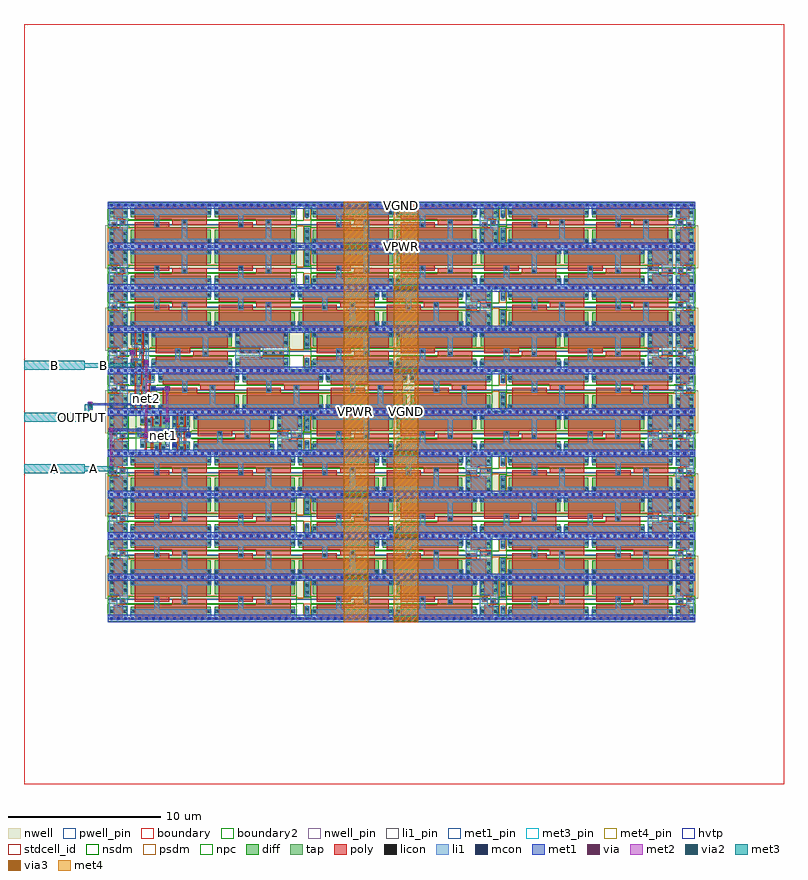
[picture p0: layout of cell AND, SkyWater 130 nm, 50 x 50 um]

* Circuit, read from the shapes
.subckt AND A B OUTPUT VGND VPWR net1 net2 net3
XM1 VGND VPWR VGND VGND sky130_fd_pr__nfet_01v8 w=0.55 l=0.59 m=22
XM2 VGND VPWR VGND VGND sky130_fd_pr__nfet_01v8 w=0.55 l=4.73 m=58
XM3 VGND B n1 VGND sky130_fd_pr__nfet_01v8 w=0.52 l=0.15
XM4 OUTPUT n2 VGND VGND sky130_fd_pr__nfet_01v8 w=0.65 l=0.15 m=2
XM5 net2 n1 VGND VGND sky130_fd_pr__nfet_01v8 w=0.52 l=0.15
XM6 n3 net2 n4 VGND sky130_fd_pr__nfet_01v8 w=0.42 l=0.15
XM7 n2 net3 VGND VGND sky130_fd_pr__nfet_01v8 w=0.42 l=0.15
XM8 VGND net1 n3 VGND sky130_fd_pr__nfet_01v8 w=0.42 l=0.15
XM9 net3 n4 VGND VGND sky130_fd_pr__nfet_01v8 w=0.65 l=0.15
XM10 VGND n5 net1 VGND sky130_fd_pr__nfet_01v8 w=0.52 l=0.15
XM11 n5 A VGND VGND sky130_fd_pr__nfet_01v8 w=0.52 l=0.15
XM12 VGND VPWR VGND VGND sky130_fd_pr__nfet_01v8 w=0.55 l=2.89
XM13 VGND VPWR VGND VGND sky130_fd_pr__nfet_01v8 w=0.55 l=1.05 m=8
XM14 VPWR VGND VPWR VPWR sky130_fd_pr__pfet_01v8_hvt w=0.87 l=0.59 m=22
XM15 VPWR VGND VPWR VPWR sky130_fd_pr__pfet_01v8_hvt w=0.87 l=4.73 m=58
XM16 VPWR B n1 VPWR sky130_fd_pr__pfet_01v8_hvt w=0.79 l=0.15
XM17 OUTPUT n2 VPWR VPWR sky130_fd_pr__pfet_01v8_hvt w=1 l=0.15 m=2
XM18 net2 n1 VPWR VPWR sky130_fd_pr__pfet_01v8_hvt w=0.79 l=0.15
XM19 n4 net2 VPWR VPWR sky130_fd_pr__pfet_01v8_hvt w=0.42 l=0.15
XM20 n2 net3 VPWR VPWR sky130_fd_pr__pfet_01v8_hvt w=0.64 l=0.15
XM21 VPWR net1 n4 VPWR sky130_fd_pr__pfet_01v8_hvt w=0.42 l=0.15
XM22 net3 n4 VPWR VPWR sky130_fd_pr__pfet_01v8_hvt w=1 l=0.15
XM23 VPWR n5 net1 VPWR sky130_fd_pr__pfet_01v8_hvt w=0.79 l=0.15
XM24 n5 A VPWR VPWR sky130_fd_pr__pfet_01v8_hvt w=0.79 l=0.15
XM25 VPWR VGND VPWR VPWR sky130_fd_pr__pfet_01v8_hvt w=0.87 l=2.89
XM26 VPWR VGND VPWR VPWR sky130_fd_pr__pfet_01v8_hvt w=0.87 l=1.05 m=8
.ends

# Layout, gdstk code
from math import pi, radians
import gdstk
lib = gdstk.Library(unit=1e-6, precision=1e-09)
def R(c, l, rs):  # rectangles x0, y0, x1, y1
    for r in rs: c.add(gdstk.rectangle(r[:2], r[2:], *l))
def A(c, l, x, y, w, h, nx, ny, dx, dy):  # array of equal rectangles
    R(c, l, [(x+i*dx, y+j*dy, x+i*dx+w, y+j*dy+h) for i in range(nx) for j in range(ny)])
def P(c, l, *ps):  # polygons
    for p in ps: c.add(gdstk.Polygon(p, *l))
nwell_pin = (64, 16)
nwell = (64, 20)
diff = (65, 20)
tap = (65, 44)
poly = (66, 20)
licon = (66, 44)
li1_pin = (67, 16)
li1 = (67, 20)
mcon = (67, 44)
met1_pin = (68, 16)
met1 = (68, 20)
via = (68, 44)
met2 = (69, 20)
via2 = (69, 44)
met3_pin = (70, 16)
met3 = (70, 20)
via3 = (70, 44)
met4_pin = (71, 16)
met4 = (71, 20)
hvtp = (78, 44)
stdcell_id = (81, 4)
nsdm = (93, 44)
psdm = (94, 20)
npc = (95, 20)
pwell_pin = (122, 16)
boundary = (235, 4)
boundary2 = (236, 0)

sky130_ef_sc_hd__decap_1 = lib.new_cell('sky130_ef_sc_hd__decap_12')
R(sky130_ef_sc_hd__decap_1, nwell_pin, [(0.145,2.635,0.315,2.805)])
R(sky130_ef_sc_hd__decap_1, nwell, [(-0.19,1.305,5.71,2.91)])
R(sky130_ef_sc_hd__decap_1, diff, [(0.135,0.235,5.385,0.785), (0.135,1.615,5.385,2.485)])
P(sky130_ef_sc_hd__decap_1, poly, [(5.125,2.615),(0.395,2.615),(0.395,1.125),(2.645,1.125),(2.645,1.485),(5.125,1.485)],
  [(5.125,1.275),(2.855,1.275),(2.855,0.915),(0.395,0.915),(0.395,0.105),(5.125,0.105)])
R(sky130_ef_sc_hd__decap_1, licon, [(0.175,0.39,0.345,0.56), (5.175,0.39,5.345,0.56), (3.575,1.025,3.745,1.195), (1.755,1.205,1.925,1.375), (0.175,2.255,0.345,2.425), (5.175,2.255,5.345,2.425)])
R(sky130_ef_sc_hd__decap_1, li1, [(0,-0.085,5.52,0.085), (0.085,0.085,5.43,0.63), (1.67,0.63,2.01,1.46), (3.49,0.95,3.84,2.2), (0.085,2.2,5.43,2.635), (0,2.635,5.52,2.805)])
A(sky130_ef_sc_hd__decap_1, mcon, 0.145, -0.085, 0.17, 0.17, 12, 2, 0.46, 2.72)
R(sky130_ef_sc_hd__decap_1, met1_pin, [(0.145,-0.085,0.315,0.085), (0.145,2.635,0.315,2.805)])
R(sky130_ef_sc_hd__decap_1, hvtp, [(0,1.25,5.52,2.72)])
R(sky130_ef_sc_hd__decap_1, stdcell_id, [(0,0,5.52,2.72)])
R(sky130_ef_sc_hd__decap_1, nsdm, [(0,-0.19,5.52,1.015)])
R(sky130_ef_sc_hd__decap_1, psdm, [(0,1.485,5.52,2.91)])
R(sky130_ef_sc_hd__decap_1, npc, [(0,0.925,5.52,1.475)])
R(sky130_ef_sc_hd__decap_1, pwell_pin, [(0.145,-0.085,0.315,0.085)])
R(sky130_ef_sc_hd__decap_1, boundary2, [(0,0,5.52,2.72)])
sky130_ef_sc_hd__decap_1.add(gdstk.FlexPath([(0,2.72),(5.52,2.72)], 0.48, ends="flush", simple_path=True, layer=68, datatype=20))  # met1
sky130_ef_sc_hd__decap_1.add(gdstk.FlexPath([(0,0),(5.52,0)], 0.48, ends="flush", simple_path=True, layer=68, datatype=20))  # met1
sky130_ef_sc_hd__decap_1.add(gdstk.Label('VGND', (0.23,0), layer=68, texttype=5))
sky130_ef_sc_hd__decap_1.add(gdstk.Label('VPWR', (0.23,2.72), layer=68, texttype=5))
sky130_ef_sc_hd__decap_1.add(gdstk.Label('VPB', (0.23,2.72), layer=64, texttype=5))
sky130_ef_sc_hd__decap_1.add(gdstk.Label('VNB', (0.23,0), layer=64, texttype=59))
sky130_ef_sc_hd__decap_1.add(gdstk.Label('decap_12', (0,0), layer=83, texttype=44))

sky130_fd_sc_hd__decap_3 = lib.new_cell('sky130_fd_sc_hd__decap_3')
R(sky130_fd_sc_hd__decap_3, nwell_pin, [(0.145,2.635,0.315,2.805)])
R(sky130_fd_sc_hd__decap_3, nwell, [(-0.19,1.305,1.57,2.91)])
R(sky130_fd_sc_hd__decap_3, diff, [(0.135,0.235,1.245,0.785), (0.135,1.615,1.245,2.485)])
P(sky130_fd_sc_hd__decap_3, poly, [(1.125,1.255),(0.795,1.255),(0.795,0.915),(0.395,0.915),(0.395,0.105),(0.985,0.105),(0.985,0.925),(1.125,0.925)],
  [(0.985,2.615),(0.395,2.615),(0.395,1.455),(0.255,1.455),(0.255,1.125),(0.585,1.125),(0.585,1.465),(0.985,1.465)])
R(sky130_fd_sc_hd__decap_3, licon, [(0.175,0.4,0.345,0.57), (1.035,0.4,1.205,0.57), (0.875,1.005,1.045,1.175), (0.335,1.205,0.505,1.375), (0.175,1.78,0.345,1.95), (1.035,1.78,1.205,1.95), (0.175,2.255,0.345,2.425), (1.035,2.255,1.205,2.425)])
P(sky130_fd_sc_hd__decap_3, li1, [(1.38,2.805),(0,2.805),(0,2.635),(0.085,2.635),(0.085,1.545),(0.775,1.545),(0.775,1.005),(1.295,1.005),(1.295,2.635),(1.38,2.635)],
  [(1.38,0.085),(1.295,0.085),(1.295,0.835),(0.605,0.835),(0.605,1.375),(0.085,1.375),(0.085,0.085),(0,0.085),(0,-0.085),(1.38,-0.085)])
A(sky130_fd_sc_hd__decap_3, mcon, 0.145, -0.085, 0.17, 0.17, 3, 2, 0.46, 2.72)
R(sky130_fd_sc_hd__decap_3, met1_pin, [(0.145,-0.085,0.315,0.085), (0.145,2.635,0.315,2.805)])
R(sky130_fd_sc_hd__decap_3, hvtp, [(0,1.25,1.38,2.72)])
R(sky130_fd_sc_hd__decap_3, stdcell_id, [(0,0,1.38,2.72)])
R(sky130_fd_sc_hd__decap_3, nsdm, [(0,-0.19,1.38,1.015)])
R(sky130_fd_sc_hd__decap_3, psdm, [(0,1.485,1.38,2.91)])
P(sky130_fd_sc_hd__decap_3, npc, [(1.38,1.345),(0.605,1.345),(0.605,1.475),(0,1.475),(0,0.975),(0.775,0.975),(0.775,0.905),(1.38,0.905)])
R(sky130_fd_sc_hd__decap_3, pwell_pin, [(0.145,-0.085,0.315,0.085)])
R(sky130_fd_sc_hd__decap_3, boundary2, [(0,0,1.38,2.72)])
sky130_fd_sc_hd__decap_3.add(gdstk.FlexPath([(0,2.72),(1.38,2.72)], 0.48, ends="flush", simple_path=True, layer=68, datatype=20))  # met1
sky130_fd_sc_hd__decap_3.add(gdstk.FlexPath([(0,0),(1.38,0)], 0.48, ends="flush", simple_path=True, layer=68, datatype=20))  # met1
sky130_fd_sc_hd__decap_3.add(gdstk.Label('VPWR', (0.23,2.72), layer=68, texttype=5))
sky130_fd_sc_hd__decap_3.add(gdstk.Label('VGND', (0.23,0), layer=68, texttype=5))
sky130_fd_sc_hd__decap_3.add(gdstk.Label('VPB', (0.23,2.72), layer=64, texttype=5))
sky130_fd_sc_hd__decap_3.add(gdstk.Label('VNB', (0.23,0), layer=64, texttype=59))
sky130_fd_sc_hd__decap_3.add(gdstk.Label('decap_3', (0,0), layer=83, texttype=44))

sky130_fd_sc_hd__fill_1 = lib.new_cell('sky130_fd_sc_hd__fill_1')
R(sky130_fd_sc_hd__fill_1, nwell_pin, [(0.155,2.67,0.255,2.755)])
R(sky130_fd_sc_hd__fill_1, nwell, [(-0.19,1.305,0.65,2.91)])
R(sky130_fd_sc_hd__fill_1, mcon, [(0.145,-0.085,0.315,0.085), (0.145,2.635,0.315,2.805)])
R(sky130_fd_sc_hd__fill_1, met1_pin, [(0.11,-0.065,0.29,0.08), (0.11,2.635,0.29,2.785)])
R(sky130_fd_sc_hd__fill_1, hvtp, [(0,1.25,0.46,2.72)])
R(sky130_fd_sc_hd__fill_1, stdcell_id, [(0,0,0.46,2.72)])
R(sky130_fd_sc_hd__fill_1, nsdm, [(0,-0.19,0.46,1.015)])
R(sky130_fd_sc_hd__fill_1, psdm, [(0,1.355,0.46,2.91)])
R(sky130_fd_sc_hd__fill_1, pwell_pin, [(0.14,-0.055,0.26,0.055)])
sky130_fd_sc_hd__fill_1.add(gdstk.FlexPath([(0,0),(0.46,0)], 0.17, ends="flush", simple_path=True, layer=67, datatype=20))  # li1
sky130_fd_sc_hd__fill_1.add(gdstk.FlexPath([(0,2.72),(0.46,2.72)], 0.17, ends="flush", simple_path=True, layer=67, datatype=20))  # li1
sky130_fd_sc_hd__fill_1.add(gdstk.FlexPath([(0,2.72),(0.46,2.72)], 0.48, ends="flush", simple_path=True, layer=68, datatype=20))  # met1
sky130_fd_sc_hd__fill_1.add(gdstk.FlexPath([(0,0),(0.46,0)], 0.48, ends="flush", simple_path=True, layer=68, datatype=20))  # met1
sky130_fd_sc_hd__fill_1.add(gdstk.Label('VPWR', (0.205,2.72), layer=68, texttype=5))
sky130_fd_sc_hd__fill_1.add(gdstk.Label('VGND', (0.205,0), layer=68, texttype=5))
sky130_fd_sc_hd__fill_1.add(gdstk.Label('VPB', (0.23,2.72), layer=64, texttype=5))
sky130_fd_sc_hd__fill_1.add(gdstk.Label('VNB', (0.23,0), layer=64, texttype=59))
sky130_fd_sc_hd__fill_1.add(gdstk.Label('fill_1', (0,0), layer=83, texttype=44))

sky130_fd_sc_hd__tapvpwr = lib.new_cell('sky130_fd_sc_hd__tapvpwrvgnd_1')
R(sky130_fd_sc_hd__tapvpwr, nwell, [(-0.19,1.305,0.65,2.91)])
R(sky130_fd_sc_hd__tapvpwr, tap, [(0.145,0.32,0.315,0.845), (0.145,1.525,0.315,2.4)])
R(sky130_fd_sc_hd__tapvpwr, licon, [(0.145,0.555,0.315,0.725), (0.145,1.645,0.315,1.815), (0.145,2.11,0.315,2.28)])
R(sky130_fd_sc_hd__tapvpwr, li1, [(0,-0.085,0.46,0.085), (0.085,0,0.375,0.81), (0.085,1.47,0.375,2.72), (0,2.635,0.46,2.805)])
R(sky130_fd_sc_hd__tapvpwr, mcon, [(0.145,-0.085,0.315,0.085), (0.145,2.635,0.315,2.805)])
R(sky130_fd_sc_hd__tapvpwr, met1_pin, [(0.105,-0.09,0.36,0.1), (0.11,2.62,0.375,2.765)])
R(sky130_fd_sc_hd__tapvpwr, met1, [(0,-0.24,0.46,0.24), (0,2.48,0.46,2.96)])
R(sky130_fd_sc_hd__tapvpwr, hvtp, [(0,1.25,0.46,2.72)])
R(sky130_fd_sc_hd__tapvpwr, stdcell_id, [(0,0,0.46,2.72)])
R(sky130_fd_sc_hd__tapvpwr, nsdm, [(0,-0.19,0.46,0.19), (0,1.395,0.46,2.53)])
R(sky130_fd_sc_hd__tapvpwr, psdm, [(0,0.19,0.46,0.975), (0,2.53,0.46,2.91)])
sky130_fd_sc_hd__tapvpwr.add(gdstk.Label('VPWR', (0.23,2.72), layer=68, texttype=5))
sky130_fd_sc_hd__tapvpwr.add(gdstk.Label('VGND', (0.23,0), layer=68, texttype=5))
sky130_fd_sc_hd__tapvpwr.add(gdstk.Label('tapvpwrvgnd_1', (0,0), layer=83, texttype=44))

sky130_fd_sc_hd__decap_4 = lib.new_cell('sky130_fd_sc_hd__decap_4')
R(sky130_fd_sc_hd__decap_4, nwell_pin, [(0.145,2.635,0.315,2.805)])
R(sky130_fd_sc_hd__decap_4, nwell, [(-0.19,1.305,2.03,2.91)])
R(sky130_fd_sc_hd__decap_4, diff, [(0.135,0.235,1.705,0.785), (0.135,1.615,1.705,2.485)])
P(sky130_fd_sc_hd__decap_4, poly, [(1.445,2.615),(0.395,2.615),(0.395,1.455),(0.105,1.455),(0.105,1.125),(0.815,1.125),(0.815,1.485),(1.445,1.485)],
  [(1.735,1.275),(1.025,1.275),(1.025,0.915),(0.395,0.915),(0.395,0.105),(1.445,0.105),(1.445,0.945),(1.735,0.945)])
R(sky130_fd_sc_hd__decap_4, licon, [(0.175,0.425,0.345,0.595), (1.495,0.425,1.665,0.595), (1.485,1.025,1.655,1.195), (0.185,1.205,0.355,1.375), (0.175,1.745,0.345,1.915), (1.495,1.745,1.665,1.915), (0.175,2.255,0.345,2.425), (1.495,2.255,1.665,2.425)])
P(sky130_fd_sc_hd__decap_4, li1, [(1.84,2.805),(0,2.805),(0,2.635),(0.085,2.635),(0.085,1.545),(1.005,1.545),(1.005,1.025),(1.755,1.025),(1.755,2.635),(1.84,2.635)],
  [(1.84,0.085),(1.755,0.085),(1.755,0.855),(0.835,0.855),(0.835,1.375),(0.085,1.375),(0.085,0.085),(0,0.085),(0,-0.085),(1.84,-0.085)])
A(sky130_fd_sc_hd__decap_4, mcon, 0.145, -0.085, 0.17, 0.17, 4, 2, 0.46, 2.72)
R(sky130_fd_sc_hd__decap_4, met1_pin, [(0.145,-0.085,0.315,0.085), (0.145,2.635,0.315,2.805)])
R(sky130_fd_sc_hd__decap_4, hvtp, [(0,1.25,1.84,2.72)])
R(sky130_fd_sc_hd__decap_4, stdcell_id, [(0,0,1.84,2.72)])
R(sky130_fd_sc_hd__decap_4, nsdm, [(0,-0.19,1.84,1.015)])
R(sky130_fd_sc_hd__decap_4, psdm, [(0,1.485,1.84,2.91)])
P(sky130_fd_sc_hd__decap_4, npc, [(1.84,1.345),(0.455,1.345),(0.455,1.475),(0,1.475),(0,0.975),(1.385,0.975),(1.385,0.925),(1.84,0.925)])
R(sky130_fd_sc_hd__decap_4, pwell_pin, [(0.145,-0.085,0.315,0.085)])
R(sky130_fd_sc_hd__decap_4, boundary2, [(0,0,1.84,2.72)])
sky130_fd_sc_hd__decap_4.add(gdstk.FlexPath([(0,2.72),(1.84,2.72)], 0.48, ends="flush", simple_path=True, layer=68, datatype=20))  # met1
sky130_fd_sc_hd__decap_4.add(gdstk.FlexPath([(0,0),(1.84,0)], 0.48, ends="flush", simple_path=True, layer=68, datatype=20))  # met1
sky130_fd_sc_hd__decap_4.add(gdstk.Label('VGND', (0.23,0), layer=68, texttype=5))
sky130_fd_sc_hd__decap_4.add(gdstk.Label('VPWR', (0.23,2.72), layer=68, texttype=5))
sky130_fd_sc_hd__decap_4.add(gdstk.Label('VPB', (0.23,2.72), layer=64, texttype=5))
sky130_fd_sc_hd__decap_4.add(gdstk.Label('VNB', (0.23,0), layer=64, texttype=59))
sky130_fd_sc_hd__decap_4.add(gdstk.Label('decap_4', (0,0), layer=83, texttype=44))

sky130_fd_sc_hd__and2_1 = lib.new_cell('sky130_fd_sc_hd__and2_1')
R(sky130_fd_sc_hd__and2_1, nwell_pin, [(0.145,2.635,0.315,2.805)])
R(sky130_fd_sc_hd__and2_1, nwell, [(-0.19,1.305,2.49,2.91)])
P(sky130_fd_sc_hd__and2_1, diff, [(1.965,0.885),(1.275,0.885),(1.275,0.795),(0.295,0.795),(0.295,0.375),(1.275,0.375),(1.275,0.235),(1.965,0.235)],
  [(2.16,2.485),(1.275,2.485),(1.275,2.275),(0.295,2.275),(0.295,1.855),(1.225,1.855),(1.225,1.485),(2.16,1.485)])
P(sky130_fd_sc_hd__and2_1, poly, [(1.865,1.325),(1.685,1.325),(1.685,2.615),(1.535,2.615),(1.535,0.105),(1.685,0.105),(1.685,0.995),(1.865,0.995)],
  [(0.725,2.405),(0.575,2.405),(0.575,1.325),(0.29,1.325),(0.29,0.995),(0.575,0.995),(0.575,0.245),(0.725,0.245)],
  [(1.325,1.325),(1.145,1.325),(1.145,2.405),(0.995,2.405),(0.995,0.245),(1.145,0.245),(1.145,0.995),(1.325,0.995)])
R(sky130_fd_sc_hd__and2_1, licon, [(1.315,0.295,1.485,0.465), (1.735,0.295,1.905,0.465), (0.355,0.435,0.525,0.605), (0.37,1.075,0.54,1.245), (1.075,1.075,1.245,1.245), (1.615,1.075,1.785,1.245), (1.315,1.915,1.485,2.085), (1.835,1.915,2.005,2.085), (0.355,2.045,0.525,2.215), (0.775,2.045,0.945,2.215), (1.315,2.255,1.485,2.425), (1.835,2.255,2.005,2.425)])
A(sky130_fd_sc_hd__and2_1, li1_pin, 1.985, 0.425, 0.17, 0.17, 1, 6, 0, 0.34)
A(sky130_fd_sc_hd__and2_1, li1_pin, 0.145, 1.105, 0.17, 0.17, 3, 1, 0.46, 0)
R(sky130_fd_sc_hd__and2_1, li1_pin, [(0.145,1.445,0.315,1.615)])
R(sky130_fd_sc_hd__and2_1, li1, [(0.995,1.075,1.335,1.325)])
P(sky130_fd_sc_hd__and2_1, li1, [(2.215,2.465),(1.755,2.465),(1.755,1.915),(1.965,1.915),(1.965,0.545),(1.655,0.545),(1.655,0.255),(2.215,0.255)],
  [(2.3,2.805),(0,2.805),(0,2.635),(0.285,2.635),(0.285,1.965),(0.565,1.965),(0.565,2.635),(1.235,2.635),(1.235,1.915),(1.565,1.915),(1.565,2.635),(2.3,2.635)],
  [(0.1,1.075),(0.1,1.685),(0.365,1.685),(0.365,1.325),(0.775,1.325),(0.775,1.075)],
  [(2.3,0.085),(1.485,0.085),(1.485,0.545),(1.235,0.545),(1.235,0.085),(0,0.085),(0,-0.085),(2.3,-0.085)],
  [(1.795,1.325),(1.675,1.325),(1.675,1.745),(1.035,1.745),(1.035,2.295),(0.735,2.295),(0.735,1.575),(1.505,1.575),(1.505,0.905),(0.285,0.905),(0.285,0.355),(0.615,0.355),(0.615,0.715),(1.675,0.715),(1.675,0.995),(1.795,0.995)])
A(sky130_fd_sc_hd__and2_1, mcon, 0.145, -0.085, 0.17, 0.17, 5, 2, 0.46, 2.72)
R(sky130_fd_sc_hd__and2_1, met1_pin, [(0.145,-0.085,0.315,0.085), (0.145,2.635,0.315,2.805)])
R(sky130_fd_sc_hd__and2_1, hvtp, [(0,1.25,2.3,2.72)])
R(sky130_fd_sc_hd__and2_1, stdcell_id, [(0,0,2.3,2.72)])
R(sky130_fd_sc_hd__and2_1, nsdm, [(0,-0.19,2.3,1.015)])
R(sky130_fd_sc_hd__and2_1, psdm, [(0,1.355,2.3,2.91)])
R(sky130_fd_sc_hd__and2_1, npc, [(0,0.975,2.3,1.345)])
R(sky130_fd_sc_hd__and2_1, pwell_pin, [(0.145,-0.085,0.315,0.085)])
R(sky130_fd_sc_hd__and2_1, boundary2, [(0,0,2.3,2.72)])
sky130_fd_sc_hd__and2_1.add(gdstk.FlexPath([(0,0),(2.3,0)], 0.48, ends="flush", simple_path=True, layer=68, datatype=20))  # met1
sky130_fd_sc_hd__and2_1.add(gdstk.FlexPath([(0,2.72),(2.3,2.72)], 0.48, ends="flush", simple_path=True, layer=68, datatype=20))  # met1
sky130_fd_sc_hd__and2_1.add(gdstk.Label('VPWR', (0.23,2.72), layer=68, texttype=5))
sky130_fd_sc_hd__and2_1.add(gdstk.Label('VGND', (0.23,0), layer=68, texttype=5))
sky130_fd_sc_hd__and2_1.add(gdstk.Label('X', (2.07,0.85), layer=67, texttype=5))
sky130_fd_sc_hd__and2_1.add(gdstk.Label('X', (2.07,0.51), layer=67, texttype=5))
sky130_fd_sc_hd__and2_1.add(gdstk.Label('X', (2.07,1.19), layer=67, texttype=5))
sky130_fd_sc_hd__and2_1.add(gdstk.Label('X', (2.07,1.53), layer=67, texttype=5))
sky130_fd_sc_hd__and2_1.add(gdstk.Label('X', (2.07,1.87), layer=67, texttype=5))
sky130_fd_sc_hd__and2_1.add(gdstk.Label('X', (2.07,2.21), layer=67, texttype=5))
sky130_fd_sc_hd__and2_1.add(gdstk.Label('B', (1.15,1.19), layer=67, texttype=5))
sky130_fd_sc_hd__and2_1.add(gdstk.Label('A', (0.69,1.19), layer=67, texttype=5))
sky130_fd_sc_hd__and2_1.add(gdstk.Label('A', (0.23,1.19), layer=67, texttype=5))
sky130_fd_sc_hd__and2_1.add(gdstk.Label('VPB', (0.23,2.72), layer=64, texttype=5))
sky130_fd_sc_hd__and2_1.add(gdstk.Label('VNB', (0.23,0), layer=64, texttype=59))
sky130_fd_sc_hd__and2_1.add(gdstk.Label('and2_1', (0,0), layer=83, texttype=44))

sky130_fd_sc_hd__clkbuf_ = lib.new_cell('sky130_fd_sc_hd__clkbuf_1')
R(sky130_fd_sc_hd__clkbuf_, nwell_pin, [(1.065,2.635,1.235,2.805)])
R(sky130_fd_sc_hd__clkbuf_, nwell, [(-0.19,1.305,1.57,2.91)])
R(sky130_fd_sc_hd__clkbuf_, diff, [(0.135,0.235,1.245,0.755), (0.135,1.695,1.245,2.485)])
P(sky130_fd_sc_hd__clkbuf_, poly, [(0.375,1.39),(0.395,1.39),(0.395,2.615),(0.545,2.615),(0.545,1.39),(0.645,1.39),(0.645,1.06),(0.545,1.06),(0.545,0.105),(0.395,0.105),(0.395,1.06),(0.375,1.06)],
  [(1.245,1.325),(1.015,1.325),(1.015,1.62),(0.985,1.62),(0.985,2.615),(0.835,2.615),(0.835,1.5),(0.865,1.5),(0.865,0.95),(0.835,0.95),(0.835,0.105),(0.985,0.105),(0.985,0.83),(1.015,0.83),(1.015,0.995),(1.245,0.995)])
A(sky130_fd_sc_hd__clkbuf_, licon, 0.175, 2.215, 0.17, 0.17, 3, 1, 0.43, 0)
R(sky130_fd_sc_hd__clkbuf_, licon, [(0.605,0.295,0.775,0.465), (1.035,0.36,1.205,0.53), (0.175,0.445,0.345,0.615), (1.025,1.075,1.195,1.245), (0.425,1.14,0.595,1.31), (0.175,1.81,0.345,1.98), (0.605,1.875,0.775,2.045), (1.035,1.875,1.205,2.045)])
R(sky130_fd_sc_hd__clkbuf_, li1_pin, [(0.145,0.425,0.315,0.595), (1.065,1.105,1.235,1.275), (0.145,1.785,0.315,1.955), (0.145,2.125,0.315,2.295)])
R(sky130_fd_sc_hd__clkbuf_, li1, [(0.945,0.985,1.275,1.355)])
P(sky130_fd_sc_hd__clkbuf_, li1, [(0.085,2.465),(0.355,2.465),(0.355,1.56),(0.255,1.56),(0.255,0.76),(0.345,0.76),(0.345,0.255),(0.085,0.255)],
  [(0,0.085),(0.525,0.085),(0.525,0.465),(0.855,0.465),(0.855,0.085),(1.38,0.085),(1.38,-0.085),(0,-0.085)],
  [(0.425,1.39),(0.54,1.39),(0.54,1.705),(1.035,1.705),(1.035,2.465),(1.205,2.465),(1.205,1.535),(0.71,1.535),(0.71,0.805),(1.205,0.805),(1.205,0.255),(1.035,0.255),(1.035,0.635),(0.54,0.635),(0.54,1.06),(0.425,1.06)],
  [(0,2.805),(1.38,2.805),(1.38,2.635),(0.855,2.635),(0.855,1.875),(0.525,1.875),(0.525,2.635),(0,2.635)])
A(sky130_fd_sc_hd__clkbuf_, mcon, 0.145, -0.085, 0.17, 0.17, 3, 2, 0.46, 2.72)
R(sky130_fd_sc_hd__clkbuf_, met1_pin, [(1.065,-0.085,1.235,0.085), (1.065,2.635,1.235,2.805)])
R(sky130_fd_sc_hd__clkbuf_, hvtp, [(0,1.25,1.38,2.72)])
R(sky130_fd_sc_hd__clkbuf_, stdcell_id, [(0,0,1.38,2.72)])
R(sky130_fd_sc_hd__clkbuf_, nsdm, [(0,-0.19,1.38,1.015)])
R(sky130_fd_sc_hd__clkbuf_, psdm, [(0,1.42,1.38,2.91)])
R(sky130_fd_sc_hd__clkbuf_, npc, [(0,0.975,1.38,1.41)])
R(sky130_fd_sc_hd__clkbuf_, pwell_pin, [(1.065,-0.085,1.235,0.085)])
R(sky130_fd_sc_hd__clkbuf_, boundary2, [(0,0,1.38,2.72)])
sky130_fd_sc_hd__clkbuf_.add(gdstk.FlexPath([(1.38,0),(0,0)], 0.48, ends="flush", simple_path=True, layer=68, datatype=20))  # met1
sky130_fd_sc_hd__clkbuf_.add(gdstk.FlexPath([(1.38,2.72),(0,2.72)], 0.48, ends="flush", simple_path=True, layer=68, datatype=20))  # met1
sky130_fd_sc_hd__clkbuf_.add(gdstk.Label('VGND', (1.15,0), layer=68, texttype=5))
sky130_fd_sc_hd__clkbuf_.add(gdstk.Label('VPWR', (1.15,2.72), layer=68, texttype=5))
sky130_fd_sc_hd__clkbuf_.add(gdstk.Label('X', (0.23,0.51), layer=67, texttype=5))
sky130_fd_sc_hd__clkbuf_.add(gdstk.Label('X', (0.23,1.87), layer=67, texttype=5))
sky130_fd_sc_hd__clkbuf_.add(gdstk.Label('X', (0.23,2.21), layer=67, texttype=5))
sky130_fd_sc_hd__clkbuf_.add(gdstk.Label('A', (1.15,1.19), layer=67, texttype=5))
sky130_fd_sc_hd__clkbuf_.add(gdstk.Label('VPB', (1.15,2.72), layer=64, texttype=5))
sky130_fd_sc_hd__clkbuf_.add(gdstk.Label('VNB', (1.15,0), layer=64, texttype=59))
sky130_fd_sc_hd__clkbuf_.add(gdstk.Label('clkbuf_1', (0,0), layer=83, texttype=44))

sky130_fd_sc_hd__buf_2 = lib.new_cell('sky130_fd_sc_hd__buf_2')
R(sky130_fd_sc_hd__buf_2, nwell_pin, [(0.145,2.635,0.315,2.805)])
R(sky130_fd_sc_hd__buf_2, nwell, [(-0.19,1.305,2.03,2.91)])
P(sky130_fd_sc_hd__buf_2, diff, [(1.705,2.485),(0.62,2.485),(0.62,2.445),(0.135,2.445),(0.135,1.805),(0.62,1.805),(0.62,1.485),(1.705,1.485)],
  [(1.705,0.885),(0.62,0.885),(0.62,0.655),(0.135,0.655),(0.135,0.235),(1.705,0.235)])
P(sky130_fd_sc_hd__buf_2, poly, [(1.44,2.615),(1.29,2.615),(1.29,1.325),(1.02,1.325),(1.02,2.615),(0.87,2.615),(0.87,1.325),(0.755,1.325),(0.755,0.995),(0.87,0.995),(0.87,0.105),(1.02,0.105),(1.02,0.995),(1.29,0.995),(1.29,0.105),(1.44,0.105)],
  [(0.545,2.575),(0.395,2.575),(0.395,1.325),(0.135,1.325),(0.135,0.995),(0.395,0.995),(0.395,0.105),(0.545,0.105)])
A(sky130_fd_sc_hd__buf_2, licon, 1.49, 1.575, 0.17, 0.17, 1, 3, 0, 0.34)
R(sky130_fd_sc_hd__buf_2, licon, [(0.64,0.295,0.81,0.465), (1.49,0.315,1.66,0.485), (0.175,0.36,0.345,0.53), (1.07,0.445,1.24,0.615), (1.49,0.655,1.66,0.825), (0.185,1.075,0.355,1.245), (0.805,1.075,0.975,1.245), (1.07,1.73,1.24,1.9), (0.175,1.875,0.345,2.045), (0.64,1.875,0.81,2.045), (1.07,2.135,1.24,2.305), (0.175,2.215,0.345,2.385), (0.64,2.215,0.81,2.385)])
R(sky130_fd_sc_hd__buf_2, li1_pin, [(0.145,-0.085,0.315,0.085), (1.06,0.425,1.23,0.595), (0.145,1.105,0.315,1.275), (1.06,1.785,1.23,1.955), (1.06,2.125,1.23,2.295), (0.145,2.635,0.315,2.805)])
R(sky130_fd_sc_hd__buf_2, li1, [(0.085,0.985,0.44,1.355)])
P(sky130_fd_sc_hd__buf_2, li1, [(0.975,1.325),(0.89,1.325),(0.89,1.705),(0.345,1.705),(0.345,2.465),(0.175,2.465),(0.175,1.535),(0.72,1.535),(0.72,0.805),(0.175,0.805),(0.175,0.255),(0.345,0.255),(0.345,0.635),(0.89,0.635),(0.89,0.995),(0.975,0.995)],
  [(1.315,2.465),(1.06,2.465),(1.06,1.56),(1.145,1.56),(1.145,0.83),(1.06,0.83),(1.06,0.255),(1.315,0.255)],
  [(1.84,2.805),(0,2.805),(0,2.635),(0.56,2.635),(0.56,1.875),(0.89,1.875),(0.89,2.635),(1.49,2.635),(1.49,1.485),(1.75,1.485),(1.75,2.635),(1.84,2.635)],
  [(1.84,0.085),(1.75,0.085),(1.75,0.925),(1.49,0.925),(1.49,0.085),(0.89,0.085),(0.89,0.465),(0.56,0.465),(0.56,0.085),(0,0.085),(0,-0.085),(1.84,-0.085)])
A(sky130_fd_sc_hd__buf_2, mcon, 0.145, -0.085, 0.17, 0.17, 4, 2, 0.46, 2.72)
R(sky130_fd_sc_hd__buf_2, met1_pin, [(0.145,-0.085,0.315,0.085), (0.145,2.635,0.315,2.805)])
R(sky130_fd_sc_hd__buf_2, hvtp, [(0,1.25,1.84,2.72)])
R(sky130_fd_sc_hd__buf_2, stdcell_id, [(0,0,1.84,2.72)])
R(sky130_fd_sc_hd__buf_2, nsdm, [(0,-0.19,1.84,1.015)])
R(sky130_fd_sc_hd__buf_2, psdm, [(0,1.355,1.84,2.91)])
R(sky130_fd_sc_hd__buf_2, npc, [(0,0.975,1.84,1.345)])
R(sky130_fd_sc_hd__buf_2, pwell_pin, [(0.145,-0.085,0.315,0.085)])
R(sky130_fd_sc_hd__buf_2, boundary2, [(0,0,1.84,2.72)])
sky130_fd_sc_hd__buf_2.add(gdstk.FlexPath([(0,0),(1.84,0)], 0.48, ends="flush", simple_path=True, layer=68, datatype=20))  # met1
sky130_fd_sc_hd__buf_2.add(gdstk.FlexPath([(0,2.72),(1.84,2.72)], 0.48, ends="flush", simple_path=True, layer=68, datatype=20))  # met1
sky130_fd_sc_hd__buf_2.add(gdstk.Label('VPWR', (0.23,2.72), layer=68, texttype=5))
sky130_fd_sc_hd__buf_2.add(gdstk.Label('VGND', (0.23,0), layer=68, texttype=5))
sky130_fd_sc_hd__buf_2.add(gdstk.Label('VPWR', (0.23,2.72), layer=67, texttype=5))
sky130_fd_sc_hd__buf_2.add(gdstk.Label('VGND', (0.23,0), layer=67, texttype=5))
sky130_fd_sc_hd__buf_2.add(gdstk.Label('X', (1.145,0.51), layer=67, texttype=5))
sky130_fd_sc_hd__buf_2.add(gdstk.Label('X', (1.145,1.87), layer=67, texttype=5))
sky130_fd_sc_hd__buf_2.add(gdstk.Label('X', (1.145,2.21), layer=67, texttype=5))
sky130_fd_sc_hd__buf_2.add(gdstk.Label('A', (0.23,1.19), layer=67, texttype=5))
sky130_fd_sc_hd__buf_2.add(gdstk.Label('VPB', (0.23,2.72), layer=64, texttype=5))
sky130_fd_sc_hd__buf_2.add(gdstk.Label('VNB', (0.23,0), layer=64, texttype=59))
sky130_fd_sc_hd__buf_2.add(gdstk.Label('buf_2', (0,0), layer=83, texttype=44))

sky130_fd_sc_hd__decap_8 = lib.new_cell('sky130_fd_sc_hd__decap_8')
R(sky130_fd_sc_hd__decap_8, nwell_pin, [(0.145,2.635,0.315,2.805)])
R(sky130_fd_sc_hd__decap_8, nwell, [(-0.19,1.305,3.87,2.91)])
R(sky130_fd_sc_hd__decap_8, diff, [(0.135,0.235,3.545,0.785), (0.135,1.615,3.545,2.485)])
P(sky130_fd_sc_hd__decap_8, poly, [(3.285,2.615),(0.395,2.615),(0.395,1.125),(1.715,1.125),(1.715,1.485),(3.285,1.485)],
  [(3.285,1.275),(1.925,1.275),(1.925,0.915),(0.395,0.915),(0.395,0.105),(3.285,0.105)])
A(sky130_fd_sc_hd__decap_8, licon, 2.005, 1.025, 0.17, 0.17, 3, 1, 0.515, 0)
A(sky130_fd_sc_hd__decap_8, licon, 0.475, 1.205, 0.17, 0.17, 3, 1, 0.495, 0)
R(sky130_fd_sc_hd__decap_8, licon, [(0.175,0.39,0.345,0.56), (3.335,0.39,3.505,0.56), (0.175,1.745,0.345,1.915), (3.335,1.745,3.505,1.915), (0.175,2.255,0.345,2.425), (3.335,2.255,3.505,2.425)])
P(sky130_fd_sc_hd__decap_8, li1, [(3.68,0.085),(3.595,0.085),(3.595,0.855),(1.735,0.855),(1.735,1.375),(0.085,1.375),(0.085,0.085),(0,0.085),(0,-0.085),(3.68,-0.085)],
  [(3.68,2.805),(0,2.805),(0,2.635),(0.085,2.635),(0.085,1.545),(1.905,1.545),(1.905,1.025),(3.595,1.025),(3.595,2.635),(3.68,2.635)])
A(sky130_fd_sc_hd__decap_8, mcon, 0.145, -0.085, 0.17, 0.17, 8, 2, 0.46, 2.72)
R(sky130_fd_sc_hd__decap_8, met1_pin, [(0.145,-0.085,0.315,0.085), (0.145,2.635,0.315,2.805)])
R(sky130_fd_sc_hd__decap_8, hvtp, [(0,1.25,3.68,2.72)])
R(sky130_fd_sc_hd__decap_8, stdcell_id, [(0,0,3.68,2.72)])
R(sky130_fd_sc_hd__decap_8, nsdm, [(0,-0.19,3.68,1.015)])
R(sky130_fd_sc_hd__decap_8, psdm, [(0,1.485,3.68,2.91)])
P(sky130_fd_sc_hd__decap_8, npc, [(3.68,1.345),(1.735,1.345),(1.735,1.475),(0,1.475),(0,0.975),(1.905,0.975),(1.905,0.925),(3.68,0.925)])
R(sky130_fd_sc_hd__decap_8, pwell_pin, [(0.145,-0.085,0.315,0.085)])
R(sky130_fd_sc_hd__decap_8, boundary2, [(0,0,3.68,2.72)])
sky130_fd_sc_hd__decap_8.add(gdstk.FlexPath([(0,2.72),(3.68,2.72)], 0.48, ends="flush", simple_path=True, layer=68, datatype=20))  # met1
sky130_fd_sc_hd__decap_8.add(gdstk.FlexPath([(0,0),(3.68,0)], 0.48, ends="flush", simple_path=True, layer=68, datatype=20))  # met1
sky130_fd_sc_hd__decap_8.add(gdstk.Label('VPWR', (0.23,2.72), layer=68, texttype=5))
sky130_fd_sc_hd__decap_8.add(gdstk.Label('VGND', (0.23,0), layer=68, texttype=5))
sky130_fd_sc_hd__decap_8.add(gdstk.Label('VPB', (0.23,2.72), layer=64, texttype=5))
sky130_fd_sc_hd__decap_8.add(gdstk.Label('VNB', (0.23,0), layer=64, texttype=59))
sky130_fd_sc_hd__decap_8.add(gdstk.Label('decap_8', (0,0), layer=83, texttype=44))

sky130_fd_sc_hd__fill_2 = lib.new_cell('sky130_fd_sc_hd__fill_2')
R(sky130_fd_sc_hd__fill_2, nwell_pin, [(0.14,2.675,0.31,2.765)])
R(sky130_fd_sc_hd__fill_2, nwell, [(-0.19,1.305,1.11,2.91)])
R(sky130_fd_sc_hd__fill_2, mcon, [(0.145,-0.085,0.315,0.085), (0.605,-0.085,0.775,0.085), (0.145,2.635,0.315,2.805), (0.605,2.635,0.775,2.805)])
R(sky130_fd_sc_hd__fill_2, met1_pin, [(0.1,-0.07,0.365,0.09), (0.105,2.65,0.365,2.805)])
R(sky130_fd_sc_hd__fill_2, hvtp, [(0,1.25,0.92,2.72)])
R(sky130_fd_sc_hd__fill_2, stdcell_id, [(0,0,0.92,2.72)])
R(sky130_fd_sc_hd__fill_2, nsdm, [(0,-0.19,0.92,1.015)])
R(sky130_fd_sc_hd__fill_2, psdm, [(0,1.355,0.92,2.91)])
R(sky130_fd_sc_hd__fill_2, pwell_pin, [(0.155,-0.05,0.315,0.06)])
sky130_fd_sc_hd__fill_2.add(gdstk.FlexPath([(0,0),(0.92,0)], 0.17, ends="flush", simple_path=True, layer=67, datatype=20))  # li1
sky130_fd_sc_hd__fill_2.add(gdstk.FlexPath([(0,2.72),(0.92,2.72)], 0.17, ends="flush", simple_path=True, layer=67, datatype=20))  # li1
sky130_fd_sc_hd__fill_2.add(gdstk.FlexPath([(0,2.72),(0.92,2.72)], 0.48, ends="flush", simple_path=True, layer=68, datatype=20))  # met1
sky130_fd_sc_hd__fill_2.add(gdstk.FlexPath([(0,0),(0.92,0)], 0.48, ends="flush", simple_path=True, layer=68, datatype=20))  # met1
sky130_fd_sc_hd__fill_2.add(gdstk.Label('VGND', (0.23,0), layer=68, texttype=5))
sky130_fd_sc_hd__fill_2.add(gdstk.Label('VPWR', (0.23,2.72), layer=68, texttype=5))
sky130_fd_sc_hd__fill_2.add(gdstk.Label('VPB', (0.23,2.72), layer=64, texttype=5))
sky130_fd_sc_hd__fill_2.add(gdstk.Label('VNB', (0.23,0), layer=64, texttype=59))
sky130_fd_sc_hd__fill_2.add(gdstk.Label('fill_2', (0,0), layer=83, texttype=44))

and_ = lib.new_cell('AND')
R(and_, li1, [(9.805,22.185,9.975,22.355), (7.965,22.865,8.135,23.035), (8.425,22.865,8.595,23.035), (10.725,22.865,10.895,23.035), (9.345,23.885,9.515,24.055), (7.505,24.905,7.675,25.075), (8.425,25.925,8.595,26.095), (7.965,27.625,8.135,27.795), (7.045,28.305,7.215,28.475)])
R(and_, mcon, [(9.805,22.185,9.975,22.355), (7.965,22.865,8.135,23.035), (8.425,22.865,8.595,23.035), (10.725,22.865,10.895,23.035), (9.345,23.885,9.515,24.055), (7.505,24.905,7.675,25.075), (8.425,25.925,8.595,26.095), (7.965,27.625,8.135,27.795), (7.045,28.305,7.215,28.475)])
A(and_, met1, 5.52, 10.64, 38.64, 0.48, 1, 11, 0, 2.72)
R(and_, met1, [(9.745,22.155,10.035,22.385), (9.82,22.385,9.96,22.88), (7.89,22.82,8.21,23.08), (8.365,22.835,8.655,22.88), (10.665,22.835,10.955,23.065), (8.365,22.88,9.96,23.02), (8.365,23.02,8.655,23.065), (10.74,23.065,10.88,23.22), (5.59,23.16,5.91,23.22), (5.59,23.22,10.88,23.36), (5.59,23.36,5.91,23.42), (9.27,23.84,9.59,24.1), (4.21,24.86,4.53,24.92), (7.445,24.875,7.735,24.92), (4.21,24.92,7.735,25.06), (4.21,25.06,4.53,25.12), (7.445,25.06,7.735,25.105), (9.27,25.88,9.59,25.94), (8.365,25.895,8.655,25.94), (8.365,25.94,9.59,26.08), (8.365,26.08,8.655,26.125), (9.27,26.08,9.59,26.14), (7.89,27.58,8.21,27.84), (6.97,28.26,7.29,28.52)])
A(and_, via, 24.425, 10.805, 0.15, 0.15, 5, 6, 0.32, 5.44)
A(and_, via, 21.125, 13.525, 0.15, 0.15, 5, 5, 0.32, 5.44)
R(and_, via, [(7.975,22.875,8.125,23.025), (5.675,23.215,5.825,23.365), (9.355,23.895,9.505,24.045), (4.295,24.915,4.445,25.065), (9.355,25.935,9.505,26.085), (7.975,27.635,8.125,27.785), (7.055,28.315,7.205,28.465)])
A(and_, met2, 24.37, 10.695, 1.54, 0.37, 1, 6, 0, 5.44)
A(and_, met2, 21.07, 13.415, 1.54, 0.37, 1, 5, 0, 5.44)
R(and_, met2, [(5.61,20.555,5.89,20.925), (5.68,20.925,5.82,23.13), (7.92,22.79,8.18,23.11), (7.98,23.11,8.12,27.55), (5.62,23.13,5.88,23.45), (9.3,23.81,9.56,24.13), (9.36,24.13,9.5,25.85), (4.23,24.635,4.51,25.005), (4.24,25.005,4.5,25.15), (9.3,25.85,9.56,26.17), (6.99,27.355,7.27,27.725), (7.92,27.55,8.18,27.87), (7.06,27.725,7.2,28.23), (7,28.23,7.26,28.55)])
A(and_, via2, 24.44, 10.78, 0.2, 0.2, 4, 6, 0.4, 5.44)
A(and_, via2, 21.14, 13.5, 0.2, 0.2, 4, 5, 0.4, 5.44)
R(and_, via2, [(5.65,20.64,5.85,20.84), (4.27,24.72,4.47,24.92), (7.03,27.44,7.23,27.64)])
A(and_, met3_pin, 0, 20.44, 4, 0.6, 1, 3, 0, 3.4)
A(and_, met3, 24.35, 10.715, 1.58, 0.33, 1, 6, 0, 5.44)
A(and_, met3, 21.05, 13.435, 1.58, 0.33, 1, 5, 0, 5.44)
R(and_, met3, [(0,20.44,4,20.59), (5.585,20.575,5.915,20.59), (0,20.59,5.915,20.89), (0,20.89,4,21.04), (5.585,20.89,5.915,20.905), (0,23.84,4,23.99), (0,23.99,4.29,24.44), (3.99,24.44,4.29,24.655), (3.99,24.655,4.535,24.97), (4.205,24.97,4.535,24.985), (0,27.24,4,27.39), (6.965,27.375,7.295,27.39), (0,27.39,7.295,27.69), (0,27.69,4,27.84), (6.965,27.69,7.295,27.705)])
A(and_, via3, 24.44, 10.78, 0.2, 0.2, 4, 6, 0.4, 5.44)
A(and_, via3, 21.14, 13.5, 0.2, 0.2, 4, 5, 0.4, 5.44)
R(and_, met4_pin, [(21.04,10.64,22.64,38.32), (24.34,10.64,25.94,38.32)])
R(and_, met4, [(21.04,10.64,22.64,38.32), (24.34,10.64,25.94,38.32)])
R(and_, boundary, [(0,0,50,50)])
and_.add(gdstk.Reference(sky130_ef_sc_hd__decap_1, (6.9,10.88)))
and_.add(gdstk.Reference(sky130_ef_sc_hd__decap_1, (6.9,16.32), x_reflection=True))
and_.add(gdstk.Reference(sky130_fd_sc_hd__decap_3, (5.52,10.88)))
and_.add(gdstk.Reference(sky130_fd_sc_hd__decap_3, (5.52,16.32), x_reflection=True))
and_.add(gdstk.Reference(sky130_ef_sc_hd__decap_1, (12.42,10.88)))
and_.add(gdstk.Reference(sky130_ef_sc_hd__decap_1, (12.42,16.32), x_reflection=True))
and_.add(gdstk.Reference(sky130_fd_sc_hd__fill_1, (17.94,10.88)))
and_.add(gdstk.Reference(sky130_ef_sc_hd__decap_1, (18.86,10.88)))
and_.add(gdstk.Reference(sky130_ef_sc_hd__decap_1, (17.94,16.32), x_reflection=True))
and_.add(gdstk.Reference(sky130_fd_sc_hd__tapvpwr, (18.4,10.88)))
and_.add(gdstk.Reference(sky130_ef_sc_hd__decap_1, (24.38,10.88)))
and_.add(gdstk.Reference(sky130_ef_sc_hd__decap_1, (23.46,16.32), x_reflection=True))
and_.add(gdstk.Reference(sky130_fd_sc_hd__decap_4, (28.98,16.32), x_reflection=True))
and_.add(gdstk.Reference(sky130_fd_sc_hd__decap_3, (29.9,10.88)))
and_.add(gdstk.Reference(sky130_ef_sc_hd__decap_1, (31.74,10.88)))
and_.add(gdstk.Reference(sky130_fd_sc_hd__fill_1, (30.82,16.32), x_reflection=True))
and_.add(gdstk.Reference(sky130_ef_sc_hd__decap_1, (31.74,16.32), x_reflection=True))
and_.add(gdstk.Reference(sky130_fd_sc_hd__tapvpwr, (31.28,10.88)))
and_.add(gdstk.Reference(sky130_fd_sc_hd__tapvpwr, (31.28,16.32), x_reflection=True))
and_.add(gdstk.Reference(sky130_ef_sc_hd__decap_1, (37.26,10.88)))
and_.add(gdstk.Reference(sky130_ef_sc_hd__decap_1, (37.26,16.32), x_reflection=True))
and_.add(gdstk.Reference(sky130_fd_sc_hd__decap_3, (44.16,10.88), rotation=pi, x_reflection=True))
and_.add(gdstk.Reference(sky130_fd_sc_hd__decap_3, (44.16,16.32), rotation=pi))
and_.add(gdstk.Reference(sky130_ef_sc_hd__decap_1, (6.9,16.32)))
and_.add(gdstk.Reference(sky130_fd_sc_hd__decap_3, (5.52,16.32)))
and_.add(gdstk.Reference(sky130_ef_sc_hd__decap_1, (12.42,16.32)))
and_.add(gdstk.Reference(sky130_fd_sc_hd__fill_1, (17.94,16.32)))
and_.add(gdstk.Reference(sky130_ef_sc_hd__decap_1, (18.86,16.32)))
and_.add(gdstk.Reference(sky130_fd_sc_hd__tapvpwr, (18.4,16.32)))
and_.add(gdstk.Reference(sky130_ef_sc_hd__decap_1, (24.38,16.32)))
and_.add(gdstk.Reference(sky130_ef_sc_hd__decap_1, (29.9,16.32)))
and_.add(gdstk.Reference(sky130_ef_sc_hd__decap_1, (35.42,16.32)))
and_.add(gdstk.Reference(sky130_fd_sc_hd__decap_4, (40.94,16.32)))
and_.add(gdstk.Reference(sky130_fd_sc_hd__decap_3, (44.16,16.32), rotation=pi, x_reflection=True))
and_.add(gdstk.Reference(sky130_ef_sc_hd__decap_1, (6.9,21.76), x_reflection=True))
and_.add(gdstk.Reference(sky130_fd_sc_hd__decap_3, (5.52,21.76), x_reflection=True))
and_.add(gdstk.Reference(sky130_ef_sc_hd__decap_1, (12.42,21.76), x_reflection=True))
and_.add(gdstk.Reference(sky130_ef_sc_hd__decap_1, (17.94,21.76), x_reflection=True))
and_.add(gdstk.Reference(sky130_ef_sc_hd__decap_1, (23.46,21.76), x_reflection=True))
and_.add(gdstk.Reference(sky130_fd_sc_hd__decap_4, (28.98,21.76), x_reflection=True))
and_.add(gdstk.Reference(sky130_fd_sc_hd__fill_1, (30.82,21.76), x_reflection=True))
and_.add(gdstk.Reference(sky130_ef_sc_hd__decap_1, (31.74,21.76), x_reflection=True))
and_.add(gdstk.Reference(sky130_fd_sc_hd__tapvpwr, (31.28,21.76), x_reflection=True))
and_.add(gdstk.Reference(sky130_ef_sc_hd__decap_1, (37.26,21.76), x_reflection=True))
and_.add(gdstk.Reference(sky130_fd_sc_hd__decap_3, (44.16,21.76), rotation=pi))
and_.add(gdstk.Reference(sky130_ef_sc_hd__decap_1, (11.04,21.76)))
and_.add(gdstk.Reference(sky130_fd_sc_hd__fill_1, (6.9,21.76)))
and_.add(gdstk.Reference(sky130_fd_sc_hd__decap_3, (5.52,21.76)))
and_.add(gdstk.Reference(sky130_fd_sc_hd__and2_1, (7.36,21.76)))
and_.add(gdstk.Reference(sky130_fd_sc_hd__clkbuf_, (9.66,21.76)))
and_.add(gdstk.Reference(sky130_fd_sc_hd__decap_4, (16.56,21.76)))
and_.add(gdstk.Reference(sky130_ef_sc_hd__decap_1, (18.86,21.76)))
and_.add(gdstk.Reference(sky130_fd_sc_hd__tapvpwr, (18.4,21.76)))
and_.add(gdstk.Reference(sky130_ef_sc_hd__decap_1, (24.38,21.76)))
and_.add(gdstk.Reference(sky130_ef_sc_hd__decap_1, (29.9,21.76)))
and_.add(gdstk.Reference(sky130_ef_sc_hd__decap_1, (35.42,21.76)))
and_.add(gdstk.Reference(sky130_fd_sc_hd__decap_4, (40.94,21.76)))
and_.add(gdstk.Reference(sky130_fd_sc_hd__decap_3, (44.16,21.76), rotation=pi, x_reflection=True))
and_.add(gdstk.Reference(sky130_ef_sc_hd__decap_1, (8.74,27.2), x_reflection=True))
and_.add(gdstk.Reference(sky130_fd_sc_hd__decap_3, (5.52,27.2), x_reflection=True))
and_.add(gdstk.Reference(sky130_fd_sc_hd__buf_2, (8.74,27.2), rotation=pi))
and_.add(gdstk.Reference(sky130_ef_sc_hd__decap_1, (14.26,27.2), x_reflection=True))
and_.add(gdstk.Reference(sky130_ef_sc_hd__decap_1, (19.78,27.2), x_reflection=True))
and_.add(gdstk.Reference(sky130_ef_sc_hd__decap_1, (25.3,27.2), x_reflection=True))
and_.add(gdstk.Reference(sky130_fd_sc_hd__fill_1, (30.82,27.2), x_reflection=True))
and_.add(gdstk.Reference(sky130_ef_sc_hd__decap_1, (31.74,27.2), x_reflection=True))
and_.add(gdstk.Reference(sky130_fd_sc_hd__tapvpwr, (31.28,27.2), x_reflection=True))
and_.add(gdstk.Reference(sky130_ef_sc_hd__decap_1, (37.26,27.2), x_reflection=True))
and_.add(gdstk.Reference(sky130_fd_sc_hd__decap_3, (44.16,27.2), rotation=pi))
and_.add(gdstk.Reference(sky130_ef_sc_hd__decap_1, (8.28,27.2)))
and_.add(gdstk.Reference(sky130_ef_sc_hd__decap_1, (6.9,32.64), x_reflection=True))
and_.add(gdstk.Reference(sky130_fd_sc_hd__decap_3, (5.52,27.2)))
and_.add(gdstk.Reference(sky130_fd_sc_hd__decap_3, (5.52,32.64), x_reflection=True))
and_.add(gdstk.Reference(sky130_fd_sc_hd__clkbuf_, (8.28,27.2), rotation=pi, x_reflection=True))
and_.add(gdstk.Reference(sky130_fd_sc_hd__decap_8, (13.8,27.2)))
and_.add(gdstk.Reference(sky130_ef_sc_hd__decap_1, (12.42,32.64), x_reflection=True))
and_.add(gdstk.Reference(sky130_fd_sc_hd__fill_2, (17.48,27.2)))
and_.add(gdstk.Reference(sky130_ef_sc_hd__decap_1, (18.86,27.2)))
and_.add(gdstk.Reference(sky130_ef_sc_hd__decap_1, (17.94,32.64), x_reflection=True))
and_.add(gdstk.Reference(sky130_fd_sc_hd__tapvpwr, (18.4,27.2)))
and_.add(gdstk.Reference(sky130_ef_sc_hd__decap_1, (24.38,27.2)))
and_.add(gdstk.Reference(sky130_ef_sc_hd__decap_1, (23.46,32.64), x_reflection=True))
and_.add(gdstk.Reference(sky130_fd_sc_hd__decap_4, (28.98,32.64), x_reflection=True))
and_.add(gdstk.Reference(sky130_ef_sc_hd__decap_1, (29.9,27.2)))
and_.add(gdstk.Reference(sky130_fd_sc_hd__fill_1, (30.82,32.64), x_reflection=True))
and_.add(gdstk.Reference(sky130_ef_sc_hd__decap_1, (31.74,32.64), x_reflection=True))
and_.add(gdstk.Reference(sky130_fd_sc_hd__tapvpwr, (31.28,32.64), x_reflection=True))
and_.add(gdstk.Reference(sky130_ef_sc_hd__decap_1, (35.42,27.2)))
and_.add(gdstk.Reference(sky130_fd_sc_hd__decap_4, (40.94,27.2)))
and_.add(gdstk.Reference(sky130_ef_sc_hd__decap_1, (37.26,32.64), x_reflection=True))
and_.add(gdstk.Reference(sky130_fd_sc_hd__decap_3, (44.16,27.2), rotation=pi, x_reflection=True))
and_.add(gdstk.Reference(sky130_fd_sc_hd__decap_3, (44.16,32.64), rotation=pi))
and_.add(gdstk.Reference(sky130_ef_sc_hd__decap_1, (6.9,32.64)))
and_.add(gdstk.Reference(sky130_fd_sc_hd__decap_3, (5.52,32.64)))
and_.add(gdstk.Reference(sky130_ef_sc_hd__decap_1, (12.42,32.64)))
and_.add(gdstk.Reference(sky130_fd_sc_hd__fill_1, (17.94,32.64)))
and_.add(gdstk.Reference(sky130_ef_sc_hd__decap_1, (18.86,32.64)))
and_.add(gdstk.Reference(sky130_fd_sc_hd__tapvpwr, (18.4,32.64)))
and_.add(gdstk.Reference(sky130_ef_sc_hd__decap_1, (24.38,32.64)))
and_.add(gdstk.Reference(sky130_ef_sc_hd__decap_1, (29.9,32.64)))
and_.add(gdstk.Reference(sky130_ef_sc_hd__decap_1, (35.42,32.64)))
and_.add(gdstk.Reference(sky130_fd_sc_hd__decap_4, (40.94,32.64)))
and_.add(gdstk.Reference(sky130_fd_sc_hd__decap_3, (44.16,32.64), rotation=pi, x_reflection=True))
and_.add(gdstk.Reference(sky130_ef_sc_hd__decap_1, (6.9,38.08), x_reflection=True))
and_.add(gdstk.Reference(sky130_fd_sc_hd__decap_3, (5.52,38.08), x_reflection=True))
and_.add(gdstk.Reference(sky130_ef_sc_hd__decap_1, (12.42,38.08), x_reflection=True))
and_.add(gdstk.Reference(sky130_fd_sc_hd__fill_1, (17.94,38.08), x_reflection=True))
and_.add(gdstk.Reference(sky130_ef_sc_hd__decap_1, (18.86,38.08), x_reflection=True))
and_.add(gdstk.Reference(sky130_fd_sc_hd__tapvpwr, (18.4,38.08), x_reflection=True))
and_.add(gdstk.Reference(sky130_ef_sc_hd__decap_1, (24.38,38.08), x_reflection=True))
and_.add(gdstk.Reference(sky130_fd_sc_hd__decap_3, (29.9,38.08), x_reflection=True))
and_.add(gdstk.Reference(sky130_ef_sc_hd__decap_1, (31.74,38.08), x_reflection=True))
and_.add(gdstk.Reference(sky130_fd_sc_hd__tapvpwr, (31.28,38.08), x_reflection=True))
and_.add(gdstk.Reference(sky130_ef_sc_hd__decap_1, (37.26,38.08), x_reflection=True))
and_.add(gdstk.Reference(sky130_fd_sc_hd__decap_3, (44.16,38.08), rotation=pi))
and_.add(gdstk.Label('VGND', (24.84,38.08), layer=69, texttype=5))
and_.add(gdstk.Label('VPWR', (24.84,35.36), layer=68, texttype=5))
and_.add(gdstk.Label('A', (4.56,20.74), layer=70, texttype=5))
and_.add(gdstk.Label('B', (5.25,27.54), layer=70, texttype=5))
and_.add(gdstk.Label('OUTPUT', (3.755,24.14), layer=70, texttype=5))
and_.add(gdstk.Label('net1', (9.2,22.95), layer=68, texttype=5))
and_.add(gdstk.Label('net2', (8.05,25.33), layer=69, texttype=5))
and_.add(gdstk.Label('net3', (9.43,24.99), layer=69, texttype=5))
and_.add(gdstk.Label('A', (2,20.74), layer=70, texttype=5))
and_.add(gdstk.Label('B', (2,27.54), layer=70, texttype=5))
and_.add(gdstk.Label('OUTPUT', (2,24.14), layer=70, texttype=5))
and_.add(gdstk.Label('VGND', (25.14,24.48), layer=71, texttype=5))
and_.add(gdstk.Label('VPWR', (21.84,24.48), layer=71, texttype=5))

lib.write_gds('AND.gds')
